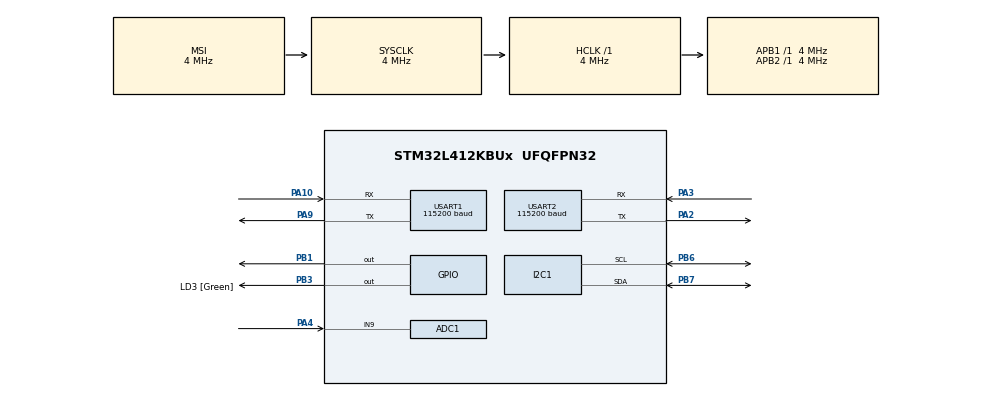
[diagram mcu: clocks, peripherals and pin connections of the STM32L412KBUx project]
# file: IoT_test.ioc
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ADC1.Channel-0\#ChannelRegularConversion=ADC_CHANNEL_9
ADC1.NbrOfConversionFlag=1
ADC1.OffsetNumber-0\#ChannelRegularConversion=ADC_OFFSET_NONE
ADC1.Rank-0\#ChannelRegularConversion=1
ADC1.SamplingTime-0\#ChannelRegularConversion=ADC_SAMPLETIME_2CYCLES_5
ADC1.master=1
I2C1.Timing=0x00100D14
Mcu.Family=STM32L4
Mcu.Name=STM32L412KBUx
Mcu.Package=UFQFPN32
NVIC.PriorityGroup=NVIC_PRIORITYGROUP_4
NVIC.RTC_WKUP_IRQn=true\:0\:0\:false\:false\:true\:true\:true\:true
NVIC.USART1_IRQn=true\:0\:0\:false\:false\:true\:true\:true\:true
PA0-CK_IN.Mode=HSE-External-Clock-Source-for-LittleOrca
PA0-CK_IN.Signal=RCC_CK_IN
PA10.Mode=Asynchronous
PA10.Signal=USART1_RX
PA13\ (JTMS/SWDIO).GPIO_Label=SWDIO
PA13\ (JTMS/SWDIO).Mode=Serial_Wire
PA13\ (JTMS/SWDIO).Signal=SYS_JTMS-SWDIO
PA14\ (JTCK/SWCLK).GPIO_Label=SWCLK
PA14\ (JTCK/SWCLK).Mode=Serial_Wire
PA14\ (JTCK/SWCLK).Signal=SYS_JTCK-SWCLK
PA2.Mode=Asynchronous
PA2.Signal=USART2_TX
PA3.Mode=Asynchronous
PA3.Signal=USART2_RX
PA4.Signal=ADCx_IN9
PA9.Mode=Asynchronous
PA9.Signal=USART1_TX
PB1.Signal=GPIO_Output
PB3\ (JTDO/TRACESWO).GPIO_Label=LD3 [Green]
PB3\ (JTDO/TRACESWO).Signal=GPIO_Output
PB6.Mode=I2C
PB6.Signal=I2C1_SCL
PB7.Mode=I2C
PB7.Signal=I2C1_SDA
PC14-OSC32_IN\ (PC14).Mode=LSE-External-Oscillator
PC14-OSC32_IN\ (PC14).Signal=RCC_OSC32_IN
PC15-OSC32_OUT\ (PC15).Mode=LSE-External-Oscillator
PC15-OSC32_OUT\ (PC15).Signal=RCC_OSC32_OUT
ProjectManager.HeapSize=0x200
ProjectManager.StackSize=0x400
ProjectManager.TargetToolchain=STM32CubeIDE
RCC.ADCFreq_Value=4000000
RCC.AHBFreq_Value=4000000
RCC.APB1Freq_Value=4000000
RCC.APB1TimFreq_Value=4000000
RCC.APB2Freq_Value=4000000
RCC.APB2TimFreq_Value=4000000
RCC.CortexFreq_Value=4000000
RCC.FLatency=FLASH_LATENCY_0
RCC.HCLKFreq_Value=4000000
RCC.HSE_VALUE=8000000
RCC.HSI48_VALUE=48000000
RCC.HSICalibrationValue=64
RCC.HSI_VALUE=16000000
RCC.LSE_Drive_Capability=RCC_LSEDRIVE_LOW
RCC.MSI_VALUE=4000000
RCC.RTCClockSelection=RCC_RTCCLKSOURCE_LSE
RCC.SYSCLKFreq_VALUE=4000000
RCC.USBFreq_Value=4000000
RCC.VCOOutputFreq_Value=32000000
RTC.WakeUpClock=RTC_WAKEUPCLOCK_CK_SPRE_16BITS
RTC.WakeUpCounter=30
SH.ADCx_IN9.0=ADC1_IN9,IN9-Single-Ended
USART1.BaudRate=115200
USART1.VirtualMode-Asynchronous=VM_ASYNC
USART2.BaudRate=115200
USART2.VirtualMode-Asynchronous=VM_ASYNC
VP_RTC_VS_RTC_Activate.Mode=RTC_Enabled
VP_RTC_VS_RTC_WakeUp_intern.Mode=WakeUp
board=NUCLEO-L412KB

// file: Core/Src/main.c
/* USER CODE BEGIN Header */
/**
  ******************************************************************************
  * @file           : main.c
  * @brief          : Main program body
  ******************************************************************************
  * @attention
  *
  * Copyright (c) 2026 STMicroelectronics.
  * All rights reserved.
  *
  * This software is licensed under terms that can be found in the LICENSE file
  * in the root directory of this software component.
  * If no LICENSE file comes with this software, it is provided AS-IS.
  *
  ******************************************************************************
  */
/* USER CODE END Header */
#include "main.h"

ADC_HandleTypeDef hadc1;

I2C_HandleTypeDef hi2c1;

RTC_HandleTypeDef hrtc;

UART_HandleTypeDef huart1;
UART_HandleTypeDef huart2;

/* USER CODE BEGIN PV */
//#define SHT40_ADDR (0x44 << 1) // SHT40 7-bit I2C address shifted left
//uint8_t sht40_cmd = 0xFD; // High precision read command
//uint8_t sht40_rx[6]; // Buffer for Temp (2B) + CRC (1B) + Hum (2B) + CRC (1B)

#define SHT31_ADDR (0x44 << 1) // SHT31 7-bit I2C address shifted left
uint8_t sht31_cmd[2] = {0x24, 0x00}; // SHT31 High precision read, clock stretching disabled
uint8_t sht31_rx[6];           // Buffer for Temp (2B) + CRC (1B) + Hum (2B) + CRC (1B)

uint16_t adc_raw_val = 0;
float temperature = 0.0;
float humidity = 0.0;
char tx_buffer[100];
/* USER CODE END PV */

void SystemClock_Config(void);
static void MX_GPIO_Init(void);
static void MX_USART2_UART_Init(void);
static void MX_ADC1_Init(void);
static void MX_USART1_UART_Init(void);
static void MX_I2C1_Init(void);
static void MX_RTC_Init(void);

/* USER CODE BEGIN 0 */
#include <stdio.h>
#include <string.h>

#define MOISTURE_VCC_Pin GPIO_PIN_1
#define MOISTURE_VCC_Port GPIOB
#define BLE_EN_Pin       GPIO_PIN_4

// Redirect printf to USART2 (Debug/PC/CoolTerm)
int __io_putchar(int ch) {
//    HAL_UART_Transmit(&huart2, (uint8_t *)&ch, 1, HAL_MAX_DELAY);
    return ch;
}

//void Read_Sensors(void) {
//	// Clear buffer
//	for(int i=0; i<6; i++) sht40_rx[i] = 0;
//
//	// 1. Read SHT40
//	HAL_StatusTypeDef status = HAL_I2C_Master_Transmit(&hi2c1, SHT40_ADDR, &sht40_cmd, 1, 100);
//	if (status != HAL_OK) {
//		printf("[DEBUG] I2C Transmit Error Code: %d\r\n", status);
//	}
//
//	HAL_Delay(15);
//
//	status = HAL_I2C_Master_Receive(&hi2c1, SHT40_ADDR, sht40_rx, 6, 100);
//	if (status != HAL_OK) {
//		printf("[DEBUG] I2C Receive Error Code: %d\r\n", status);
//	} else {
//		// Print raw hex data to the console
//		printf("[DEBUG] Raw Bytes: %02X %02X %02X %02X %02X %02X\r\n",
//			   sht40_rx[0], sht40_rx[1], sht40_rx[2], sht40_rx[3], sht40_rx[4], sht40_rx[5]);
//	}
//
//    // Convert Raw SHT40 Data
//    uint16_t t_ticks = (sht40_rx[0] << 8) | sht40_rx[1];
//    uint16_t rh_ticks = (sht40_rx[3] << 8) | sht40_rx[4];
//    temperature = -45.0f + 175.0f * ((float)t_ticks / 65535.0f);
//    humidity = -6.0f + 125.0f * ((float)rh_ticks / 65535.0f);
//
//    // 2. Power up & Read Analog Soil Moisture
//    // Power up the sensor using the correct Port (GPIOB)
//    HAL_GPIO_WritePin(MOISTURE_VCC_Port, MOISTURE_VCC_Pin, GPIO_PIN_SET);
//    HAL_Delay(10); // Allow sensor voltage to stabilize
//
//    HAL_ADC_Start(&hadc1);
//    if (HAL_ADC_PollForConversion(&hadc1, 10) == HAL_OK) {
//        adc_raw_val = HAL_ADC_GetValue(&hadc1);
//    }
//    HAL_ADC_Stop(&hadc1);
//
//    HAL_GPIO_WritePin(MOISTURE_VCC_Port, MOISTURE_VCC_Pin, GPIO_PIN_RESET); // Power down sensor to prevent electrolysis
//}

void Read_Sensors(void) {
    // Clear buffer
    for(int i=0; i<6; i++) sht31_rx[i] = 0;

    // 1. Read SHT31 (Note the size changed to 2 bytes)
    HAL_StatusTypeDef status = HAL_I2C_Master_Transmit(&hi2c1, SHT31_ADDR, sht31_cmd, 2, 100);
    if (status != HAL_OK) {
        printf("[DEBUG] I2C Transmit Error Code: %d\r\n", status);
    }

    HAL_Delay(15); // SHT31 high repeatability takes up to ~15ms

    status = HAL_I2C_Master_Receive(&hi2c1, SHT31_ADDR, sht31_rx, 6, 100);
    if (status != HAL_OK) {
        printf("[DEBUG] I2C Receive Error Code: %d\r\n", status);
    } else {
        // Print raw hex data to the console
        printf("[DEBUG] Raw Bytes: %02X %02X %02X %02X %02X %02X\r\n",
               sht31_rx[0], sht31_rx[1], sht31_rx[2], sht31_rx[3], sht31_rx[4], sht31_rx[5]);
    }

    // Convert Raw SHT31 Data (The formula is identical to the SHT40)
    uint16_t t_ticks = (sht31_rx[0] << 8) | sht31_rx[1];
    uint16_t rh_ticks = (sht31_rx[3] << 8) | sht31_rx[4];
    temperature = -45.0f + 175.0f * ((float)t_ticks / 65535.0f);
    humidity = 100.0f * ((float)rh_ticks / 65535.0f); // Note: SHT31 humidity math is slightly different from SHT40

    // 2. Power up & Read Analog Soil Moisture
    // ... (Keep the rest of your moisture sensor code exactly the same)
    HAL_GPIO_WritePin(MOISTURE_VCC_Port, MOISTURE_VCC_Pin, GPIO_PIN_SET);
    HAL_Delay(10);

    HAL_ADC_Start(&hadc1);
    if (HAL_ADC_PollForConversion(&hadc1, 10) == HAL_OK) {
        adc_raw_val = HAL_ADC_GetValue(&hadc1);
    }
    HAL_ADC_Stop(&hadc1);

    HAL_GPIO_WritePin(MOISTURE_VCC_Port, MOISTURE_VCC_Pin, GPIO_PIN_RESET);
}

void Transmit_Data(void) {
    // 1. Prepare payload
    char tx_buffer[32];
    int len = sprintf(tx_buffer, "%.1f,%.1f,%d", temperature, humidity, adc_raw_val);
    uint8_t stx = 0x02; // Start of Text
    uint8_t etx = 0x03; // End of Text

    // WAKE PING: Send dummy byte to wake Xiao
    uint8_t dummy = 0xFF;
    HAL_UART_Transmit(&huart1, &dummy, 1, 100);

    // Give the Xiao nRF52840 10 milliseconds to wake up
    HAL_Delay(10);

    // Now send the actual payload
    HAL_UART_Transmit(&huart1, &stx, 1, 100);
    HAL_UART_Transmit(&huart1, (uint8_t*)tx_buffer, len, 100);
    HAL_UART_Transmit(&huart1, &etx, 1, 100);
}
/* USER CODE END 0 */

int main(void)
{

  /* MCU Configuration--------------------------------------------------------*/

  /* Reset of all peripherals, Initializes the Flash interface and the Systick. */
  HAL_Init();

  /* Configure the system clock */
  SystemClock_Config();

  /* Initialize all configured peripherals */
  MX_GPIO_Init();
  MX_USART2_UART_Init();
  MX_ADC1_Init();
  MX_USART1_UART_Init();
  MX_I2C1_Init();
  MX_RTC_Init();

  /* Infinite loop */
  /* USER CODE BEGIN WHILE */
    printf("\r\n=== System Booted successfully ===\r\n");

    while (1)
    {
    	HAL_Delay(2000); // ADD THIS
        printf("[System] Starting sensor read step...\r\n");

        // 1. Read SHT40 and Moisture Sensor
        Read_Sensors();
        if (temperature == 0.0 && humidity == 0.0) {
            printf("[DEBUG] Sensor returned zero. Check I2C Wiring!\r\n");
        }

        printf("[System] Data read: T:%.1f, H:%.1f, S:%d\r\n", temperature, humidity, adc_raw_val);
        printf("[System] Transmitting via UART1 to BLE...\r\n");

//        HAL_Delay(2000);

        // 2. Transmit to Xiao BLE via USART1
        Transmit_Data();
//
        printf("[System] Transmission complete. Entering STOP2 Mode...\r\n");

		// === PRE-SLEEP ISOLATION ===

        // This guarantees MspInit() will restore the pins when we wake up.
        HAL_UART_DeInit(&huart1);
        HAL_I2C_DeInit(&hi2c1);
        HAL_ADC_DeInit(&hadc1);

		// Convert EVERY pin on Port A and Port B to Analog to kill all floating leaks.
		// (Our MX_Init functions will automatically restore the ones we need when we wake up!)
		GPIO_InitTypeDef GPIO_InitStruct = {0};
		GPIO_InitStruct.Pin = GPIO_PIN_All;
		GPIO_InitStruct.Mode = GPIO_MODE_ANALOG;
		GPIO_InitStruct.Pull = GPIO_NOPULL;
		HAL_GPIO_Init(GPIOA, &GPIO_InitStruct);
		HAL_GPIO_Init(GPIOB, &GPIO_InitStruct);

		// 1. Suspend the SysTick timer.
		// (If we don't do this, the standard 1ms timer might instantly wake us back up).
		HAL_SuspendTick();

		// Disabling debug mode consumption
		HAL_DBGMCU_DisableDBGStopMode();

		// 2. Enter STOP 2 Mode.
		// The CPU completely shuts down here. It consumes ~2µA.
		HAL_PWREx_EnterSTOP2Mode(PWR_STOPENTRY_WFI);

		// ==========================================================
		//  THE SYSTEM IS NOW ASLEEP.
		//  CODE EXECUTION PAUSES HERE.
		// ==========================================================

		// 3. The RTC Alarm rings. The CPU wakes up and resumes on this line.

		// 4. Wake up the SysTick timer.
		HAL_ResumeTick();

		// 5. Re-initialize the main clock.
		// (STOP2 mode disables the main MSI clock to save power. We must turn it back on).
		SystemClock_Config();

		// 6. Wake up the peripherals!
		MX_GPIO_Init();
		MX_USART1_UART_Init();
		MX_I2C1_Init();
		MX_ADC1_Init();

		printf("\r\n[System] Woke up from STOP2!\r\n");
////        HAL_Delay(2000);
////
////        printf("[System] Transmission complete. Sleeping for x s...\r\n");
//
//        HAL_Delay(20000);
    /* USER CODE END WHILE */

    }
}

void SystemClock_Config(void)
{
  RCC_OscInitTypeDef RCC_OscInitStruct = {0};
  RCC_ClkInitTypeDef RCC_ClkInitStruct = {0};

  /** Configure the main internal regulator output voltage
  */
  if (HAL_PWREx_ControlVoltageScaling(PWR_REGULATOR_VOLTAGE_SCALE1) != HAL_OK)
  {
    Error_Handler();
  }

  /** Configure LSE Drive Capability
  */
  HAL_PWR_EnableBkUpAccess();
  __HAL_RCC_LSEDRIVE_CONFIG(RCC_LSEDRIVE_LOW);

  /** Initializes the RCC Oscillators according to the specified parameters
  * in the RCC_OscInitTypeDef structure.
  */
  RCC_OscInitStruct.OscillatorType = RCC_OSCILLATORTYPE_LSE|RCC_OSCILLATORTYPE_MSI;
  RCC_OscInitStruct.LSEState = RCC_LSE_ON;
  RCC_OscInitStruct.MSIState = RCC_MSI_ON;
  RCC_OscInitStruct.MSICalibrationValue = 0;
  RCC_OscInitStruct.MSIClockRange = RCC_MSIRANGE_6;
  RCC_OscInitStruct.PLL.PLLState = RCC_PLL_NONE;
  if (HAL_RCC_OscConfig(&RCC_OscInitStruct) != HAL_OK)
  {
    Error_Handler();
  }

  /** Initializes the CPU, AHB and APB buses clocks
  */
  RCC_ClkInitStruct.ClockType = RCC_CLOCKTYPE_HCLK|RCC_CLOCKTYPE_SYSCLK
                              |RCC_CLOCKTYPE_PCLK1|RCC_CLOCKTYPE_PCLK2;
  RCC_ClkInitStruct.SYSCLKSource = RCC_SYSCLKSOURCE_MSI;
  RCC_ClkInitStruct.AHBCLKDivider = RCC_SYSCLK_DIV1;
  RCC_ClkInitStruct.APB1CLKDivider = RCC_HCLK_DIV1;
  RCC_ClkInitStruct.APB2CLKDivider = RCC_HCLK_DIV1;

  if (HAL_RCC_ClockConfig(&RCC_ClkInitStruct, FLASH_LATENCY_0) != HAL_OK)
  {
    Error_Handler();
  }

  /** Enable MSI Auto calibration
  */
  HAL_RCCEx_EnableMSIPLLMode();
}

static void MX_ADC1_Init(void)
{

  ADC_MultiModeTypeDef multimode = {0};
  ADC_ChannelConfTypeDef sConfig = {0};

  /** Common config
  */
  hadc1.Instance = ADC1;
  hadc1.Init.ClockPrescaler = ADC_CLOCK_ASYNC_DIV1;
  hadc1.Init.Resolution = ADC_RESOLUTION_12B;
  hadc1.Init.DataAlign = ADC_DATAALIGN_RIGHT;
  hadc1.Init.ScanConvMode = ADC_SCAN_DISABLE;
  hadc1.Init.EOCSelection = ADC_EOC_SINGLE_CONV;
  hadc1.Init.LowPowerAutoWait = DISABLE;
  hadc1.Init.ContinuousConvMode = DISABLE;
  hadc1.Init.NbrOfConversion = 1;
  hadc1.Init.DiscontinuousConvMode = DISABLE;
  hadc1.Init.ExternalTrigConv = ADC_SOFTWARE_START;
  hadc1.Init.ExternalTrigConvEdge = ADC_EXTERNALTRIGCONVEDGE_NONE;
  hadc1.Init.DMAContinuousRequests = DISABLE;
  hadc1.Init.Overrun = ADC_OVR_DATA_PRESERVED;
  hadc1.Init.OversamplingMode = DISABLE;
  if (HAL_ADC_Init(&hadc1) != HAL_OK)
  {
    Error_Handler();
  }

  /** Configure the ADC multi-mode
  */
  multimode.Mode = ADC_MODE_INDEPENDENT;
  if (HAL_ADCEx_MultiModeConfigChannel(&hadc1, &multimode) != HAL_OK)
  {
    Error_Handler();
  }

  /** Configure Regular Channel
  */
  sConfig.Channel = ADC_CHANNEL_9;
  sConfig.Rank = ADC_REGULAR_RANK_1;
  sConfig.SamplingTime = ADC_SAMPLETIME_2CYCLES_5;
  sConfig.SingleDiff = ADC_SINGLE_ENDED;
  sConfig.OffsetNumber = ADC_OFFSET_NONE;
  sConfig.Offset = 0;
  if (HAL_ADC_ConfigChannel(&hadc1, &sConfig) != HAL_OK)
  {
    Error_Handler();
  }

}

static void MX_I2C1_Init(void)
{

  hi2c1.Instance = I2C1;
  hi2c1.Init.Timing = 0x00100D14;
  hi2c1.Init.OwnAddress1 = 0;
  hi2c1.Init.AddressingMode = I2C_ADDRESSINGMODE_7BIT;
  hi2c1.Init.DualAddressMode = I2C_DUALADDRESS_DISABLE;
  hi2c1.Init.OwnAddress2 = 0;
  hi2c1.Init.OwnAddress2Masks = I2C_OA2_NOMASK;
  hi2c1.Init.GeneralCallMode = I2C_GENERALCALL_DISABLE;
  hi2c1.Init.NoStretchMode = I2C_NOSTRETCH_DISABLE;
  if (HAL_I2C_Init(&hi2c1) != HAL_OK)
  {
    Error_Handler();
  }

  /** Configure Analogue filter
  */
  if (HAL_I2CEx_ConfigAnalogFilter(&hi2c1, I2C_ANALOGFILTER_ENABLE) != HAL_OK)
  {
    Error_Handler();
  }

  /** Configure Digital filter
  */
  if (HAL_I2CEx_ConfigDigitalFilter(&hi2c1, 0) != HAL_OK)
  {
    Error_Handler();
  }

}

static void MX_RTC_Init(void)
{

  /** Initialize RTC Only
  */
  hrtc.Instance = RTC;
  hrtc.Init.HourFormat = RTC_HOURFORMAT_24;
  hrtc.Init.AsynchPrediv = 127;
  hrtc.Init.SynchPrediv = 255;
  hrtc.Init.OutPut = RTC_OUTPUT_DISABLE;
  hrtc.Init.OutPutRemap = RTC_OUTPUT_REMAP_NONE;
  hrtc.Init.OutPutPolarity = RTC_OUTPUT_POLARITY_HIGH;
  hrtc.Init.OutPutType = RTC_OUTPUT_TYPE_OPENDRAIN;
  hrtc.Init.OutPutPullUp = RTC_OUTPUT_PULLUP_NONE;
  if (HAL_RTC_Init(&hrtc) != HAL_OK)
  {
    Error_Handler();
  }

  /** Enable the WakeUp
  */
  if (HAL_RTCEx_SetWakeUpTimer_IT(&hrtc, 30, RTC_WAKEUPCLOCK_CK_SPRE_16BITS, 0) != HAL_OK)
  {
    Error_Handler();
  }

}

static void MX_USART1_UART_Init(void)
{

  huart1.Instance = USART1;
  huart1.Init.BaudRate = 115200;
  huart1.Init.WordLength = UART_WORDLENGTH_8B;
  huart1.Init.StopBits = UART_STOPBITS_1;
  huart1.Init.Parity = UART_PARITY_NONE;
  huart1.Init.Mode = UART_MODE_TX_RX;
  huart1.Init.HwFlowCtl = UART_HWCONTROL_NONE;
  huart1.Init.OverSampling = UART_OVERSAMPLING_16;
  huart1.Init.OneBitSampling = UART_ONE_BIT_SAMPLE_DISABLE;
  huart1.AdvancedInit.AdvFeatureInit = UART_ADVFEATURE_NO_INIT;
  if (HAL_UART_Init(&huart1) != HAL_OK)
  {
    Error_Handler();
  }

}

static void MX_USART2_UART_Init(void)
{

  huart2.Instance = USART2;
  huart2.Init.BaudRate = 115200;
  huart2.Init.WordLength = UART_WORDLENGTH_8B;
  huart2.Init.StopBits = UART_STOPBITS_1;
  huart2.Init.Parity = UART_PARITY_NONE;
  huart2.Init.Mode = UART_MODE_TX_RX;
  huart2.Init.HwFlowCtl = UART_HWCONTROL_NONE;
  huart2.Init.OverSampling = UART_OVERSAMPLING_16;
  huart2.Init.OneBitSampling = UART_ONE_BIT_SAMPLE_DISABLE;
  huart2.AdvancedInit.AdvFeatureInit = UART_ADVFEATURE_NO_INIT;
  if (HAL_UART_Init(&huart2) != HAL_OK)
  {
    Error_Handler();
  }

}

static void MX_GPIO_Init(void)
{
  GPIO_InitTypeDef GPIO_InitStruct = {0};

  /* GPIO Ports Clock Enable */
  __HAL_RCC_GPIOC_CLK_ENABLE();
  __HAL_RCC_GPIOA_CLK_ENABLE();
  __HAL_RCC_GPIOB_CLK_ENABLE();

  /*Configure GPIO pin Output Level */
  HAL_GPIO_WritePin(GPIOB, GPIO_PIN_1|LD3_Pin, GPIO_PIN_RESET);

  /*Configure GPIO pins : PB1 LD3_Pin */
  GPIO_InitStruct.Pin = GPIO_PIN_1|LD3_Pin;
  GPIO_InitStruct.Mode = GPIO_MODE_OUTPUT_PP;
  GPIO_InitStruct.Pull = GPIO_NOPULL;
  GPIO_InitStruct.Speed = GPIO_SPEED_FREQ_LOW;
  HAL_GPIO_Init(GPIOB, &GPIO_InitStruct);

}

/* USER CODE BEGIN 4 */

void HAL_RTCEx_WakeUpTimerEventCallback(RTC_HandleTypeDef *hrtc)
{
    // The CPU wakes up and jumps here.
    // We don't need it to do anything; we just need it to wake up!
}

/* USER CODE END 4 */

void Error_Handler(void)
{
  __disable_irq();
  while (1)
  {
  }
}
